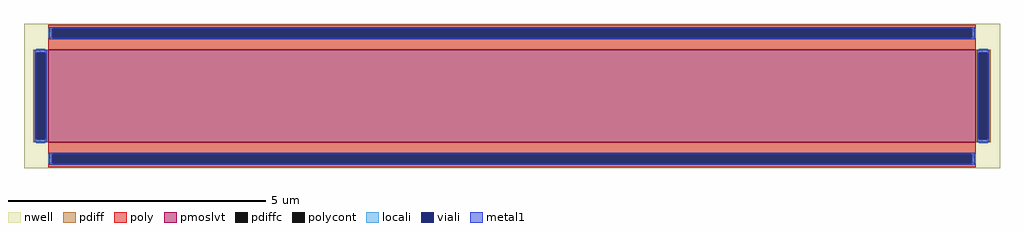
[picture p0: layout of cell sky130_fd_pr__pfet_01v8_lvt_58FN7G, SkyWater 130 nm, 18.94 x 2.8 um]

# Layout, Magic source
magic
tech sky130A
magscale 1 2
<< nwell >>
rect -1894 -280 1894 280
<< pmoslvt >>
rect -1800 -180 1800 180
<< pdiff >>
rect -1858 168 -1800 180
rect -1858 -168 -1846 168
rect -1812 -168 -1800 168
rect -1858 -180 -1800 -168
rect 1800 168 1858 180
rect 1800 -168 1812 168
rect 1846 -168 1858 168
rect 1800 -180 1858 -168
<< pdiffc >>
rect -1846 -168 -1812 168
rect 1812 -168 1846 168
<< poly >>
rect -1800 261 1800 277
rect -1800 227 -1784 261
rect 1784 227 1800 261
rect -1800 180 1800 227
rect -1800 -227 1800 -180
rect -1800 -261 -1784 -227
rect 1784 -261 1800 -227
rect -1800 -277 1800 -261
<< polycont >>
rect -1784 227 1784 261
rect -1784 -261 1784 -227
<< locali >>
rect -1800 227 -1784 261
rect 1784 227 1800 261
rect -1846 168 -1812 184
rect -1846 -184 -1812 -168
rect 1812 168 1846 184
rect 1812 -184 1846 -168
rect -1800 -261 -1784 -227
rect 1784 -261 1800 -227
<< viali >>
rect -1784 227 1784 261
rect -1846 -168 -1812 168
rect 1812 -168 1846 168
rect -1784 -261 1784 -227
<< metal1 >>
rect -1796 261 1796 267
rect -1796 227 -1784 261
rect 1784 227 1796 261
rect -1796 221 1796 227
rect -1852 168 -1806 180
rect -1852 -168 -1846 168
rect -1812 -168 -1806 168
rect -1852 -180 -1806 -168
rect 1806 168 1852 180
rect 1806 -168 1812 168
rect 1846 -168 1852 168
rect 1806 -180 1852 -168
rect -1796 -227 1796 -221
rect -1796 -261 -1784 -227
rect 1784 -261 1796 -227
rect -1796 -267 1796 -261
<< properties >>
string gencell sky130_fd_pr__pfet_01v8_lvt
string library sky130
string parameters w 1.8 l 18.0 m 1 nf 1 diffcov 100 polycov 100 guard 0 glc 1 grc 1 gtc 1 gbc 1 tbcov 100 rlcov 100 topc 1 botc 1 poverlap 0 doverlap 1 lmin 0.35 wmin 0.42 class mosfet compatible {sky130_fd_pr__pfet_01v8  sky130_fd_pr__pfet_01v8_lvt sky130_fd_pr__pfet_01v8_hvt  sky130_fd_pr__pfet_g5v0d10v5} full_metal 1 viasrc 100 viadrn 100 viagate 100 viagb 0 viagr 0 viagl 0 viagt 0
<< end >>
